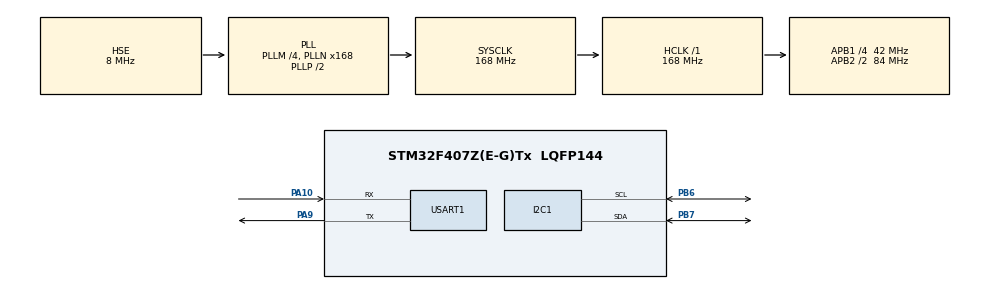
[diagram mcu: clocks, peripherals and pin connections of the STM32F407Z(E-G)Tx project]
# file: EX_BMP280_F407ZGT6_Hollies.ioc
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Mcu.Family=STM32F4
Mcu.Name=STM32F407Z(E-G)Tx
Mcu.Package=LQFP144
NVIC.PriorityGroup=NVIC_PRIORITYGROUP_4
PA10.Mode=Asynchronous
PA10.Signal=USART1_RX
PA13.Mode=Serial_Wire
PA13.Signal=SYS_JTMS-SWDIO
PA14.Mode=Serial_Wire
PA14.Signal=SYS_JTCK-SWCLK
PA9.Mode=Asynchronous
PA9.Signal=USART1_TX
PB6.Mode=I2C
PB6.Signal=I2C1_SCL
PB7.Mode=I2C
PB7.Signal=I2C1_SDA
PC14-OSC32_IN.Mode=LSE-External-Oscillator
PC14-OSC32_IN.Signal=RCC_OSC32_IN
PC15-OSC32_OUT.Mode=LSE-External-Oscillator
PC15-OSC32_OUT.Signal=RCC_OSC32_OUT
PH0-OSC_IN.Mode=HSE-External-Oscillator
PH0-OSC_IN.Signal=RCC_OSC_IN
PH1-OSC_OUT.Mode=HSE-External-Oscillator
PH1-OSC_OUT.Signal=RCC_OSC_OUT
ProjectManager.HeapSize=0x200
ProjectManager.StackSize=0x400
ProjectManager.TargetToolchain=STM32CubeIDE
RCC.48MHZClocksFreq_Value=84000000
RCC.AHBFreq_Value=168000000
RCC.APB1CLKDivider=RCC_HCLK_DIV4
RCC.APB1Freq_Value=42000000
RCC.APB1TimFreq_Value=84000000
RCC.APB2CLKDivider=RCC_HCLK_DIV2
RCC.APB2Freq_Value=84000000
RCC.APB2TimFreq_Value=168000000
RCC.CortexFreq_Value=168000000
RCC.HCLKFreq_Value=168000000
RCC.HSE_VALUE=8000000
RCC.HSI_VALUE=16000000
RCC.PLLM=4
RCC.PLLN=168
RCC.PLLSourceVirtual=RCC_PLLSOURCE_HSE
RCC.SYSCLKFreq_VALUE=168000000
RCC.SYSCLKSource=RCC_SYSCLKSOURCE_PLLCLK
RCC.VCOOutputFreq_Value=336000000
USART1.VirtualMode=VM_ASYNC
board=custom

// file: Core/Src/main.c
/* USER CODE BEGIN Header */
/**
 ******************************************************************************
 * @file           : main.c
 * @brief          : Main program body
 ******************************************************************************
 * @attention
 *
 * Copyright (c) 2023 STMicroelectronics.
 * All rights reserved.
 *
 * This software is licensed under terms that can be found in the LICENSE file
 * in the root directory of this software component.
 * If no LICENSE file comes with this software, it is provided AS-IS.
 *
 ******************************************************************************
 */
/* USER CODE END Header */
#include "main.h"

/* USER CODE BEGIN Includes */
#include "bmp280.h"
#include "stdio.h"
#include "math.h"
/* USER CODE END Includes */

I2C_HandleTypeDef hi2c1;

UART_HandleTypeDef huart1;

void SystemClock_Config(void);
static void MX_GPIO_Init(void);
static void MX_I2C1_Init(void);
static void MX_USART1_UART_Init(void);

/* USER CODE BEGIN 0 */
// bmp280相关定义
double data_conversion(double air_pressure, double temperature)
{
    double conversion_alt;
    conversion_alt = (pow(101325 / air_pressure, 1 / 5.257f) - 1) * (temperature + 273.15f) / 0.0065f;
    return conversion_alt;
}
uint8_t str_stuff[64] = "0";
/* USER CODE END 0 */

int main(void)
{
    /* USER CODE BEGIN 1 */
    double Alt;
    bmp280_params_t params;
    BMP280_HandleTypedef bmp280_dev;
    float pressure, temperature, humidity;
    /* USER CODE END 1 */

    /* MCU Configuration--------------------------------------------------------*/

    /* Reset of all peripherals, Initializes the Flash interface and the Systick. */
    HAL_Init();

    /* Configure the system clock */
    SystemClock_Config();

    /* Initialize all configured peripherals */
    MX_GPIO_Init();
    MX_I2C1_Init();
    MX_USART1_UART_Init();
    /* USER CODE BEGIN 2 */
    bmp280_init_default_params(&params); // BMP280模块配置参数。
    bmp280_dev.addr = BMP280_I2C_ADDRESS_0;
    bmp280_dev.i2c  = &hi2c1;
    bmp280_init(&bmp280_dev, &params);
    bool bme280p = bmp280_dev.id == BME280_CHIP_ID;
    /* USER CODE END 2 */

    /* Infinite loop */
    while (1) {
        bmp280_read_float(&bmp280_dev, &temperature, &pressure, &humidity);
        Alt = data_conversion(pressure, temperature);
        //		sprintf((char*)str_stuff, "Pressure:%.2f Pa, Temperature:%.2f C, Alt:%.3f m\r\n", pressure, temperature, Alt);
        sprintf((char *)str_stuff,
                "x=100,Pressure=%.2f,Temperature=%.2f,Alt=%.3f\r\n", pressure,
                temperature, Alt);
        HAL_UART_Transmit(&huart1, str_stuff, sizeof(str_stuff), 100);
        if (bme280p) {
            uint8_t str_stuff[64] = "0";
            sprintf((char *)str_stuff, ", Humidity: %.2f\n", humidity);
            HAL_UART_Transmit(&huart1, str_stuff, sizeof(str_stuff), 100);
        } else {
            uint8_t str_stuff[64] = "0";
            sprintf((char *)str_stuff, "\n");
            HAL_UART_Transmit(&huart1, str_stuff, sizeof(str_stuff), 100);
        }
        HAL_GPIO_TogglePin(GPIOC, GPIO_PIN_13);
        HAL_Delay(500);
    }
}

void SystemClock_Config(void)
{
    RCC_OscInitTypeDef RCC_OscInitStruct =
        {0};
    RCC_ClkInitTypeDef RCC_ClkInitStruct =
        {0};

    /** Configure the main internal regulator output voltage
     */
    __HAL_RCC_PWR_CLK_ENABLE();
    __HAL_PWR_VOLTAGESCALING_CONFIG(PWR_REGULATOR_VOLTAGE_SCALE1);

    /** Initializes the RCC Oscillators according to the specified parameters
     * in the RCC_OscInitTypeDef structure.
     */
    RCC_OscInitStruct.OscillatorType = RCC_OSCILLATORTYPE_HSE;
    RCC_OscInitStruct.HSEState       = RCC_HSE_ON;
    RCC_OscInitStruct.PLL.PLLState   = RCC_PLL_ON;
    RCC_OscInitStruct.PLL.PLLSource  = RCC_PLLSOURCE_HSE;
    RCC_OscInitStruct.PLL.PLLM       = 4;
    RCC_OscInitStruct.PLL.PLLN       = 168;
    RCC_OscInitStruct.PLL.PLLP       = RCC_PLLP_DIV2;
    RCC_OscInitStruct.PLL.PLLQ       = 4;
    if (HAL_RCC_OscConfig(&RCC_OscInitStruct) != HAL_OK) {
        Error_Handler();
    }

    /** Initializes the CPU, AHB and APB buses clocks
     */
    RCC_ClkInitStruct.ClockType      = RCC_CLOCKTYPE_HCLK | RCC_CLOCKTYPE_SYSCLK | RCC_CLOCKTYPE_PCLK1 | RCC_CLOCKTYPE_PCLK2;
    RCC_ClkInitStruct.SYSCLKSource   = RCC_SYSCLKSOURCE_PLLCLK;
    RCC_ClkInitStruct.AHBCLKDivider  = RCC_SYSCLK_DIV1;
    RCC_ClkInitStruct.APB1CLKDivider = RCC_HCLK_DIV4;
    RCC_ClkInitStruct.APB2CLKDivider = RCC_HCLK_DIV2;

    if (HAL_RCC_ClockConfig(&RCC_ClkInitStruct, FLASH_LATENCY_5) != HAL_OK) {
        Error_Handler();
    }
}

static void MX_I2C1_Init(void)
{

    hi2c1.Instance             = I2C1;
    hi2c1.Init.ClockSpeed      = 100000;
    hi2c1.Init.DutyCycle       = I2C_DUTYCYCLE_2;
    hi2c1.Init.OwnAddress1     = 0;
    hi2c1.Init.AddressingMode  = I2C_ADDRESSINGMODE_7BIT;
    hi2c1.Init.DualAddressMode = I2C_DUALADDRESS_DISABLE;
    hi2c1.Init.OwnAddress2     = 0;
    hi2c1.Init.GeneralCallMode = I2C_GENERALCALL_DISABLE;
    hi2c1.Init.NoStretchMode   = I2C_NOSTRETCH_DISABLE;
    if (HAL_I2C_Init(&hi2c1) != HAL_OK) {
        Error_Handler();
    }
}

static void MX_USART1_UART_Init(void)
{

    huart1.Instance          = USART1;
    huart1.Init.BaudRate     = 115200;
    huart1.Init.WordLength   = UART_WORDLENGTH_8B;
    huart1.Init.StopBits     = UART_STOPBITS_1;
    huart1.Init.Parity       = UART_PARITY_NONE;
    huart1.Init.Mode         = UART_MODE_TX_RX;
    huart1.Init.HwFlowCtl    = UART_HWCONTROL_NONE;
    huart1.Init.OverSampling = UART_OVERSAMPLING_16;
    if (HAL_UART_Init(&huart1) != HAL_OK) {
        Error_Handler();
    }
}

static void MX_GPIO_Init(void)
{

    /* GPIO Ports Clock Enable */
    __HAL_RCC_GPIOC_CLK_ENABLE();
    __HAL_RCC_GPIOH_CLK_ENABLE();
    __HAL_RCC_GPIOA_CLK_ENABLE();
    __HAL_RCC_GPIOB_CLK_ENABLE();

}

void Error_Handler(void)
{
    __disable_irq();
    while (1) {
    }
}
